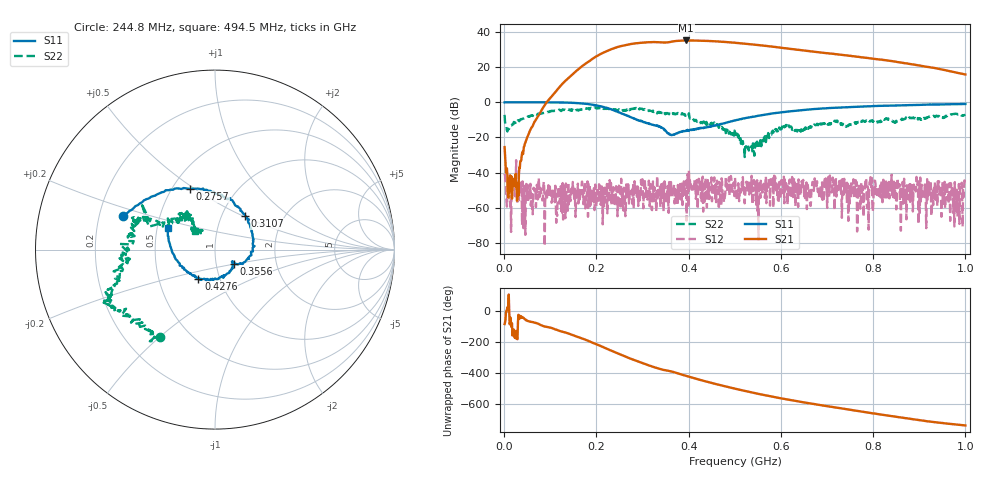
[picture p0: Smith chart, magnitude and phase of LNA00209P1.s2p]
! Created with skrf 1.9.0 (http://scikit-rf.org).
# Hz S RI R 50.0
!freq ReS11 ImS11 ReS21 ImS21 ReS12 ImS12 ReS22 ImS22
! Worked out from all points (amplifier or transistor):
!   1001 points, 1 MHz to 1 GHz, reference 50 ohm
!   highest |S21| = 35.1 dB at 394.6 MHz (marker M1)
!   |S21| within 3 dB of that: 256.7 MHz to 563.3 MHz (306.6 MHz wide, 74.8 % of centre)
!   unconditionally stable (mu >= 1): start of sweep to 74.89 MHz; 304.8 MHz to 400.4 MHz; 400.8 MHz to end of sweep (the widest 3 of 23)
!   at 166.8 MHz: K = 2.33, MAG = 29.6 dB, |S12| = -52.2 dB
!   at 500.5 MHz: K = 1.43, MAG = 34.4 dB, |S12| = -42.8 dB
!   at 1 GHz: K = 2.98, MAG = 23.7 dB, |S12| = -46.9 dB
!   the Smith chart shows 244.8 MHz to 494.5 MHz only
!   S11 on the Smith chart (normalised r, x): 244.8 MHz: 0.30, +0.16; 275.7 MHz: 0.61, +0.48; 310.7 MHz: 1.29, +0.52; 355.6 MHz: 1.21, -0.19; 427.6 MHz: 0.79, -0.27; 494.5 MHz: 0.57, +0.15
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1000000  0.9903 0.0112  0.00311 -0.053  -0.0091 -0.00205  0.3079 0.3092
1.08892e8  0.5081 -0.8489  -0.8562 -1.586  -0.00189 -0.00244  0.4251 -0.3699
1.67833e8  -0.2551 -0.8877  -10.3 -0.3609  -0.00311 0.0024  0.0372 -0.6321
2.09791e8  -0.6756 -0.3579  -15.54 17.79  -0.000239 0.00118  -0.1813 -0.6633
2.26774e8  -0.6555 -0.0676  -9.667 28.43  0.0019 -0.00111  -0.2523 -0.5821
2.44756e8  -0.5112 0.1877  2.641 36.6  -0.00304 0.00243  -0.3076 -0.4881
2.75725e8  -0.139 0.3383  30.21 33.72  -0.00239 -0.00193  -0.5476 -0.3372
3.1069e8  0.1687 0.1878  49.31 8.896  7.74e-05 0.00172  -0.5484 -0.1937
3.34666e8  0.2113 -0.01  49.27 -11.68  -7.65e-06 0.00365  -0.5035 -0.0702
3.55645e8  0.1037 -0.0779  44.78 -23.38  -0.001 -0.00111  -0.4648 0.087
3.72628e8  0.1008 -0.0803  41.82 -35.56  0.000505 0.00183  -0.444 0.1478
3.94606e8  0.0529 -0.1478  27.81 -49.56  0.00441 0.00387  -0.3799 0.1679
4.27573e8  -0.092 -0.1619  1.616 -55.73  -0.000772 0.00277  -0.2015 0.1709
4.55545e8  -0.2023 -0.0717  -18.95 -50.39  0.00694 0.00229  -0.1556 0.2137
4.94506e8  -0.2607 0.1207  -37.5 -32.67  0.000149 -0.00282  -0.1108 0.103
5.005e8  -0.2609 0.1454  -39.34 -29.49  -0.00695 0.00215  -0.0888 0.1105
5.36464e8  -0.1843 0.3297  -42.76 -9.738  0.0078 -0.00225  -0.0436 0.0366
5.84416e8  0.0145 0.4843  -36.1 10.45  0.0021 -0.0056  -0.1395 -0.0726
6.67333e8  0.4016 0.4862  -13.8 23.79  -0.00142 -0.00345  -0.2176 -0.0567
7.55245e8  0.6791 0.2717  3.895 19.93  -0.000572 -0.00379  -0.2338 0.00555
8.34166e8  0.7927 0.0135  11.02 10.35  -0.00296 -0.00457  -0.3155 -0.0613
1e9  0.7277 -0.5175  5.785 -2.077  0.00281 0.00352  -0.408 0.1582
